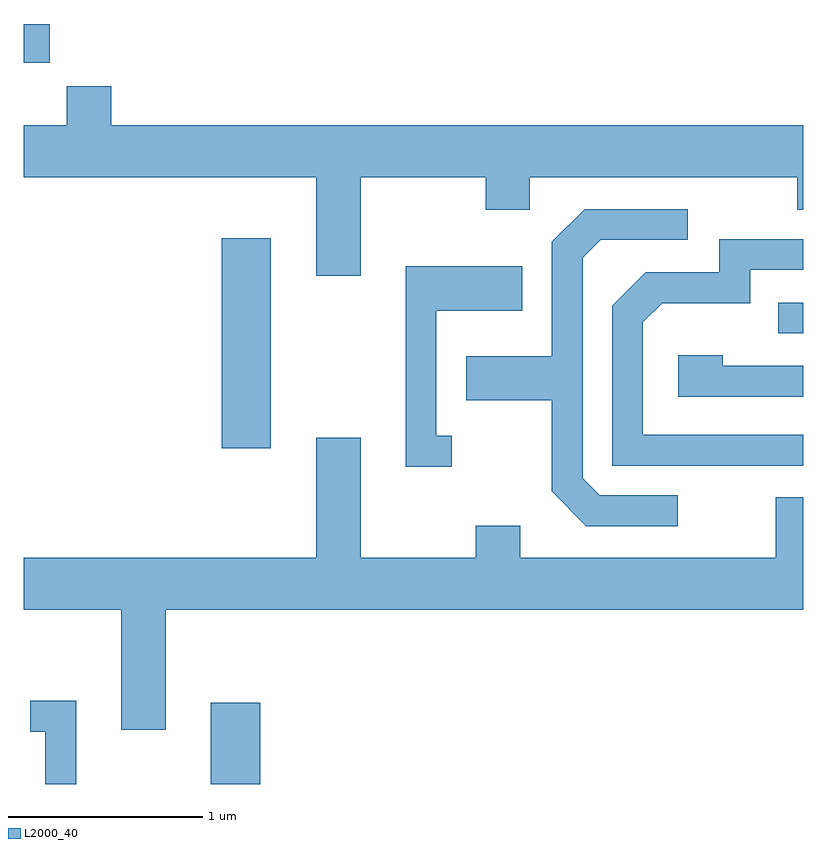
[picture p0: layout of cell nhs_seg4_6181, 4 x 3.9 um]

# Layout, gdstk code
import gdstk
lib = gdstk.Library(unit=1e-6, precision=1e-09)
def R(c, l, rs):  # rectangles x0, y0, x1, y1
    for r in rs: c.add(gdstk.rectangle(r[:2], r[2:], *l))
def P(c, l, *ps):  # polygons
    for p in ps: c.add(gdstk.Polygon(p, *l))
L2000_40 = (2000, 40)

nhs_seg4_6181 = lib.new_cell('nhs_seg4_6181')
R(nhs_seg4_6181, L2000_40, [(366.571,1375.982,366.824,1376.399), (366.626,1377.706,366.879,1378.784), (369.483,1378.296,369.611,1378.454), (365.611,1379.686,365.744,1379.884)])
P(nhs_seg4_6181, L2000_40, [(367.339,1379.096),(367.981,1379.096),(367.981,1378.931),(368.209,1378.931),(368.209,1379.096),(369.581,1379.096),(369.581,1378.931),(369.611,1378.931),(369.611,1379.364),(366.059,1379.364),(366.059,1379.564),(365.831,1379.564),(365.831,1379.364),(365.611,1379.364),(365.611,1379.096),(367.111,1379.096),(367.111,1378.591),(367.339,1378.591)],
  [(368.968,1377.464),(368.567,1377.464),(368.479,1377.552),(368.479,1378.684),(368.572,1378.776),(369.018,1378.776),(369.018,1378.934),(368.489,1378.934),(368.321,1378.767),(368.321,1378.179),(367.881,1378.179),(367.881,1377.951),(368.321,1377.951),(368.321,1377.484),(368.499,1377.306),(368.968,1377.306)],
  [(369.611,1377.774),(368.789,1377.774),(368.789,1378.354),(368.887,1378.451),(369.339,1378.451),(369.339,1378.621),(369.611,1378.621),(369.611,1378.779),(369.181,1378.779),(369.181,1378.609),(368.804,1378.609),(368.631,1378.437),(368.631,1377.616),(369.611,1377.616)],
  [(367.808,1377.769),(367.729,1377.769),(367.729,1378.411),(368.169,1378.411),(368.169,1378.639),(367.571,1378.639),(367.571,1377.611),(367.808,1377.611)],
  [(369.611,1378.129),(369.199,1378.129),(369.199,1378.184),(368.971,1378.184),(368.971,1377.971),(369.611,1377.971)],
  [(366.339,1376.876),(369.611,1376.876),(369.611,1377.454),(369.471,1377.454),(369.471,1377.144),(368.159,1377.144),(368.159,1377.309),(367.931,1377.309),(367.931,1377.144),(367.339,1377.144),(367.339,1377.759),(367.111,1377.759),(367.111,1377.144),(365.611,1377.144),(365.611,1376.876),(366.111,1376.876),(366.111,1376.261),(366.339,1376.261)],
  [(365.879,1376.409),(365.643,1376.409),(365.643,1376.251),(365.721,1376.251),(365.721,1375.982),(365.879,1375.982)])

lib.write_gds('nhs_seg4_6181.gds')
